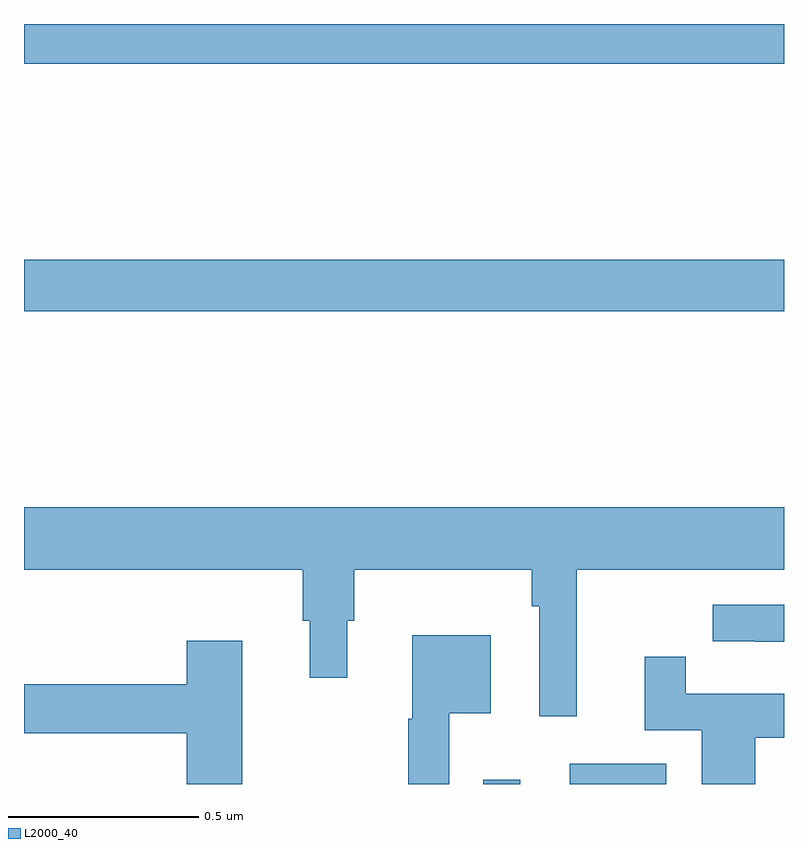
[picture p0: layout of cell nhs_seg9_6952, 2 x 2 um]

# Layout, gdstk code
import gdstk
lib = gdstk.Library(unit=1e-6, precision=1e-09)
def R(c, l, rs):  # rectangles x0, y0, x1, y1
    for r in rs: c.add(gdstk.rectangle(r[:2], r[2:], *l))
def P(c, l, *ps):  # polygons
    for p in ps: c.add(gdstk.Polygon(p, *l))
L2000_40 = (2000, 40)

nhs_seg9_6952 = lib.new_cell('nhs_seg9_6952')
R(nhs_seg9_6952, L2000_40, [(199.209,1218.5,199.306,1218.511), (199.436,1218.5,199.69,1218.553), (198,1219.744,200,1219.88), (198,1220.396,200,1220.5)])
P(nhs_seg9_6952, L2000_40, [(198,1219.064),(198.733,1219.064),(198.733,1218.93),(198.752,1218.93),(198.752,1218.78),(198.85,1218.78),(198.85,1218.93),(198.869,1218.93),(198.869,1219.064),(199.336,1219.064),(199.336,1218.968),(199.356,1218.968),(199.356,1218.678),(199.454,1218.678),(199.454,1219.064),(200,1219.064),(200,1219.228),(198,1219.228)],
  [(200,1218.972),(199.812,1218.972),(199.812,1218.876),(199.924,1218.876),(199.924,1218.875),(200,1218.875)],
  [(199.119,1218.686),(199.228,1218.686),(199.228,1218.892),(199.022,1218.892),(199.022,1218.672),(199.011,1218.672),(199.011,1218.5),(199.119,1218.5)],
  [(198.574,1218.877),(198.428,1218.877),(198.428,1218.763),(198,1218.763),(198,1218.634),(198.428,1218.634),(198.428,1218.5),(198.574,1218.5)],
  [(199.924,1218.622),(200,1218.622),(200,1218.738),(199.742,1218.738),(199.742,1218.835),(199.634,1218.835),(199.634,1218.642),(199.784,1218.642),(199.784,1218.5),(199.924,1218.5)])

lib.write_gds('nhs_seg9_6952.gds')
